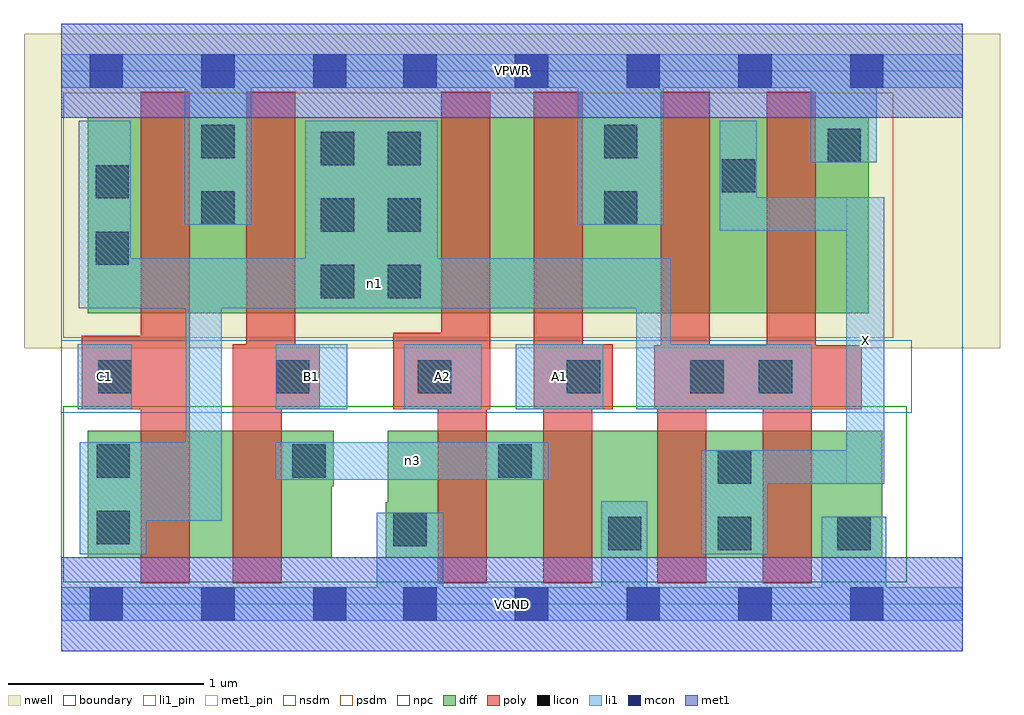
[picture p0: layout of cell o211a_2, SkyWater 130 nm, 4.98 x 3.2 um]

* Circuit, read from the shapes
.subckt o211a_2 A1 A2 B1 C1 VGND VPWR X n1 n3
XM1 n2 C1 n1 VSUBS sky130_fd_pr__nfet_01v8 w=0.65 l=0.25
XM2 n3 B1 n2 VSUBS sky130_fd_pr__nfet_01v8 w=0.65 l=0.25
XM3 n3 A2 VGND VSUBS sky130_fd_pr__nfet_01v8 w=0.65 l=0.25
XM4 VGND A1 n3 VSUBS sky130_fd_pr__nfet_01v8 w=0.65 l=0.25
XM5 X n1 VGND VSUBS sky130_fd_pr__nfet_01v8 w=0.65 l=0.25 m=2
XM6 VPWR C1 n1 n4 sky130_fd_pr__pfet_01v8 w=1 l=0.25
XM7 n1 B1 VPWR n4 sky130_fd_pr__pfet_01v8 w=1 l=0.25
XM8 n5 A2 n1 n4 sky130_fd_pr__pfet_01v8 w=1 l=0.25
XM9 VPWR A1 n5 n4 sky130_fd_pr__pfet_01v8 w=1 l=0.25
XM10 X n1 VPWR n4 sky130_fd_pr__pfet_01v8 w=1 l=0.25 m=2
.ends

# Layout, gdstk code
import gdstk
lib = gdstk.Library(unit=1e-6, precision=1e-09)
def R(c, l, rs):  # rectangles x0, y0, x1, y1
    for r in rs: c.add(gdstk.rectangle(r[:2], r[2:], *l))
def A(c, l, x, y, w, h, nx, ny, dx, dy):  # array of equal rectangles
    R(c, l, [(x+i*dx, y+j*dy, x+i*dx+w, y+j*dy+h) for i in range(nx) for j in range(ny)])
nwell = (64, 20)
diff = (65, 20)
poly = (66, 20)
licon = (66, 44)
li1_pin = (67, 16)
li1 = (67, 20)
mcon = (67, 44)
met1_pin = (68, 16)
met1 = (68, 20)
nsdm = (93, 44)
psdm = (94, 20)
npc = (95, 20)
boundary = (235, 4)

o211a_2 = lib.new_cell('o211a_2')
R(o211a_2, nwell, [(-0.19,1.305,4.79,2.91), (0,1.305,4.6,2.91)])
R(o211a_2, diff, [(0.135,0.235,1.38,0.885), (1.655,0.235,4.19,0.52), (1.665,0.235,4.19,0.885), (0.135,0.6,1.39,0.885), (0.135,1.485,4.12,2.485)])
R(o211a_2, poly, [(0.405,0.105,0.655,2.615), (0.875,0.105,1.125,1.325), (0.945,0.105,1.125,2.615), (1.92,0.105,2.17,1.385), (2.46,0.105,2.71,1.325), (3.04,0.105,3.29,1.32), (3.58,0.105,3.83,1.32), (0.105,0.995,0.655,1.37), (0.875,0.995,1.32,1.325), (1.125,0.995,1.195,2.615), (1.695,0.995,2.19,1.385), (1.94,0.995,2.19,2.615), (2.41,0.995,2.66,2.615), (2.41,0.995,2.815,1.325), (3.025,0.995,4.085,1.32), (3.06,0.995,3.31,2.615), (3.6,0.995,3.85,2.615)])
A(o211a_2, licon, 1.325, 1.56, 0.17, 0.17, 1, 3, 0, 0.34)
A(o211a_2, licon, 1.665, 1.56, 0.17, 0.17, 1, 3, 0, 0.34)
R(o211a_2, licon, [(2.79,0.275,2.96,0.445), (3.35,0.275,3.52,0.445), (3.96,0.275,4.13,0.445), (1.695,0.295,1.865,0.465), (0.18,0.305,0.35,0.475), (3.35,0.615,3.52,0.785), (0.18,0.645,0.35,0.815), (1.18,0.645,1.35,0.815), (2.23,0.645,2.4,0.815), (0.19,1.075,0.36,1.245), (1.095,1.075,1.265,1.245), (1.82,1.075,1.99,1.245), (2.58,1.075,2.75,1.245), (3.21,1.075,3.38,1.245), (3.56,1.075,3.73,1.245), (0.175,1.73,0.345,1.9), (0.715,1.935,0.885,2.105), (2.77,1.935,2.94,2.105), (0.175,2.07,0.345,2.24), (3.37,2.1,3.54,2.27), (3.91,2.255,4.08,2.425), (0.715,2.275,0.885,2.445), (2.77,2.275,2.94,2.445)])
R(o211a_2, li1_pin, [(4.005,0.615,4.2,2.075), (0.085,0.995,0.36,1.325), (1.095,0.995,1.46,1.325), (1.75,0.995,2.145,1.325), (2.32,0.995,2.765,1.325)])
R(o211a_2, li1, [(0,-0.085,4.6,0.085), (1.61,-0.085,1.95,0.465), (2.755,-0.085,2.99,0.525), (3.88,-0.085,4.21,0.445), (0.095,0.255,0.435,0.825), (3.265,0.255,3.605,0.785), (0.095,0.425,0.82,0.825), (0.635,0.425,0.82,1.765), (3.265,0.615,4.2,0.785), (4.005,0.615,4.2,2.075), (1.095,0.635,2.485,0.825), (0.085,0.995,0.36,1.325), (1.095,0.995,1.46,1.325), (1.75,0.995,2.145,1.325), (2.32,0.995,2.765,1.325), (2.935,0.995,3.83,1.325), (2.935,0.995,3.11,1.765), (0.09,1.51,3.11,1.765), (0.09,1.51,0.355,2.465), (1.245,1.51,1.92,2.465), (3.36,1.905,3.55,2.465), (3.36,1.905,4.2,2.075), (0.63,1.935,0.97,2.805), (2.635,1.935,3.075,2.805), (3.825,2.255,4.16,2.805), (0,2.635,4.6,2.805)])
A(o211a_2, mcon, 0.145, -0.085, 0.17, 0.17, 3, 2, 0.57, 2.72)
A(o211a_2, mcon, 1.745, -0.085, 0.17, 0.17, 5, 2, 0.57, 2.72)
R(o211a_2, met1_pin, [(0,-0.24,4.6,0.24), (0,2.48,4.6,2.96)])
R(o211a_2, met1, [(0,-0.24,4.6,0.24), (0,2.48,4.6,2.96)])
R(o211a_2, nsdm, [(0.01,0.11,4.315,1.01)])
R(o211a_2, psdm, [(0.01,1.36,4.245,2.61)])
R(o211a_2, npc, [(0,0.975,4.34,1.345)])
R(o211a_2, boundary, [(0,0,4.6,2.72)])
o211a_2.add(gdstk.Label('A1', (2.542,1.16), layer=67, texttype=5))
o211a_2.add(gdstk.Label('A2', (1.947,1.16), layer=67, texttype=5))
o211a_2.add(gdstk.Label('B1', (1.277,1.16), layer=67, texttype=5))
o211a_2.add(gdstk.Label('C1', (0.222,1.16), layer=67, texttype=5))
o211a_2.add(gdstk.Label('X', (4.102,1.345), layer=67, texttype=5))
o211a_2.add(gdstk.Label('n3', (1.79,0.73), layer=67, texttype=5))
o211a_2.add(gdstk.Label('n1', (1.6,1.637), layer=67, texttype=5))
o211a_2.add(gdstk.Label('VPWR', (2.3,2.72), layer=68, texttype=5))
o211a_2.add(gdstk.Label('VGND', (2.3,0), layer=68, texttype=5))
o211a_2.add(gdstk.Label('A1', (2.542,1.16), layer=67, texttype=16))
o211a_2.add(gdstk.Label('A2', (1.947,1.16), layer=67, texttype=16))
o211a_2.add(gdstk.Label('B1', (1.277,1.16), layer=67, texttype=16))
o211a_2.add(gdstk.Label('C1', (0.222,1.16), layer=67, texttype=16))
o211a_2.add(gdstk.Label('X', (4.102,1.345), layer=67, texttype=16))
o211a_2.add(gdstk.Label('VPWR', (2.3,2.72), layer=68, texttype=16))
o211a_2.add(gdstk.Label('VGND', (2.3,0), layer=68, texttype=16))

lib.write_gds('o211a_2.gds')
